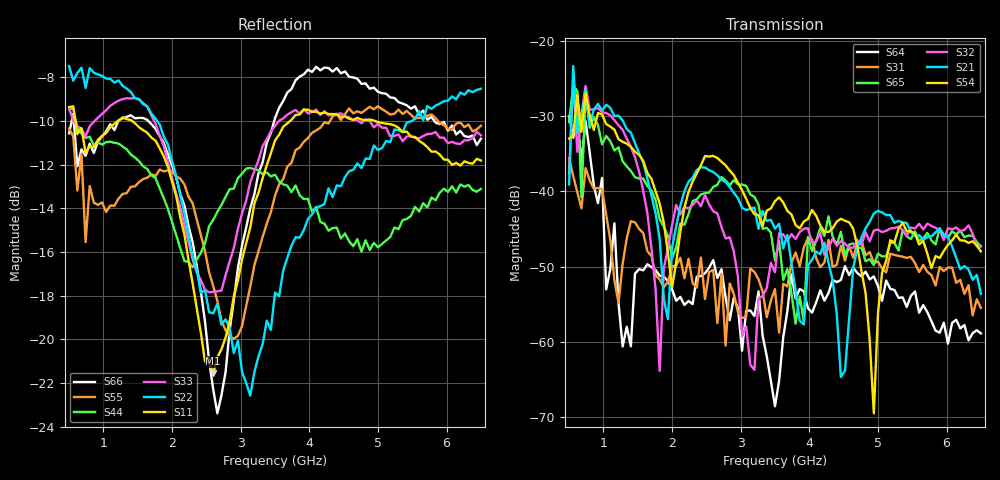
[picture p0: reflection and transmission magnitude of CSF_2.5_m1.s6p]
!Keysight Technologies,M9804A,MY58100912,A.14.10.03
!Date: Thursday, April 27, 2023 10:28:33
!Correction: S11(C  6-Port  )
!S12(C  6-Port  )
!S13(C  6-Port  )
!S14(C  6-Port  )
!S15(C  6-Port  )
!S16(C  6-Port  )
!S21(C  6-Port  )
!S22(C  6-Port  )
!S23(C  6-Port  )
!S24(C  6-Port  )
!S25(C  6-Port  )
!S26(C  6-Port  )
!S31(C  6-Port  )
!S32(C  6-Port  )
!S33(C  6-Port  )
!S34(C  6-Port  )
!S35(C  6-Port  )
!S36(C  6-Port  )
!S41(C  6-Port  )
!S42(C  6-Port  )
!S43(C  6-Port  )
!S44(C  6-Port  )
!S45(C  6-Port  )
!S46(C  6-Port  )
!S51(C  6-Port  )
!S52(C  6-Port  )
!S53(C  6-Port  )
!S54(C  6-Port  )
!S55(C  6-Port  )
!S56(C  6-Port  )
!S61(C  6-Port  )
!S62(C  6-Port  )
!S63(C  6-Port  )
!S64(C  6-Port  )
!S65(C  6-Port  )
!S66(C  6-Port  )
!S6P File: Measurement: :
# Hz S  RI  R 50
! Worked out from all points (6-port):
!   101 points, 500 MHz to 6.5 GHz, reference 50 ohm
!   strongest paths, dB at 500 MHz, 2 GHz, 3.5 GHz, 5 GHz, 6.5 GHz:
!     S54: -33.0, -52.8, -41.3, -56.3, -48.0
!     S21: -39.1, -47.5, -45.0, -42.6, -53.6
!     S32: -37.7, -44.5, -50.8, -45.1, -47.3
!     S65: -30.8, -48.9, -49.2, -48.3, -47.3
!     S31: -35.6, -50.0, -53.0, -49.3, -55.5
!     S64: -30.0, -53.0, -68.6, -52.6, -58.9
!   lowest |S11| = -21.5 dB at 2.6 GHz (marker M1), VSWR 1.18, Z = 42.5 + j2.06 ohm
!   |S11| at or under -10 dB: 591.8 MHz to 1.209 GHz (617 MHz wide, 68.5 % of centre); 1.42 GHz to 3.718 GHz (2.299 GHz wide, 89.5 % of centre); 4.962 GHz to end of sweep
